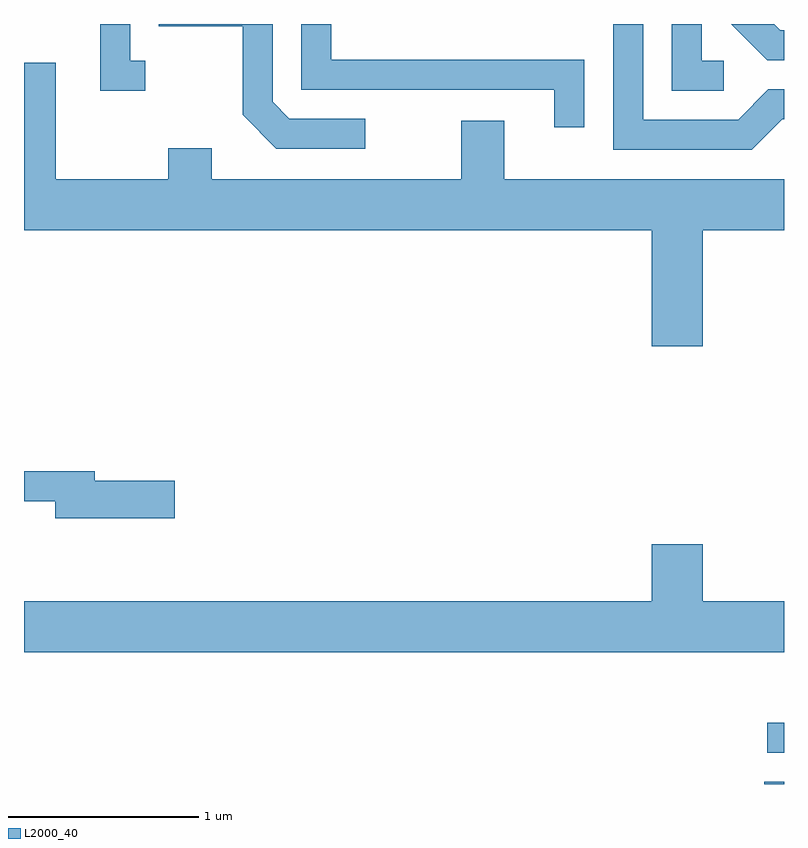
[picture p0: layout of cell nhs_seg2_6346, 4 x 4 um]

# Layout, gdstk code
import gdstk
lib = gdstk.Library(unit=1e-6, precision=1e-09)
def R(c, l, rs):  # rectangles x0, y0, x1, y1
    for r in rs: c.add(gdstk.rectangle(r[:2], r[2:], *l))
def P(c, l, *ps):  # polygons
    for p in ps: c.add(gdstk.Polygon(p, *l))
L2000_40 = (2000, 40)

nhs_seg2_6346 = lib.new_cell('nhs_seg2_6346')
R(nhs_seg2_6346, L2000_40, [(375.506,1089.802,375.611,1089.814), (375.523,1089.966,375.611,1090.124)])
P(nhs_seg2_6346, L2000_40, [(375.602,1093.301),(375.611,1093.301),(375.611,1093.459),(375.529,1093.459),(375.369,1093.299),(374.869,1093.299),(374.869,1093.802),(374.711,1093.802),(374.711,1093.141),(375.442,1093.141)],
  [(375.293,1093.609),(375.179,1093.609),(375.179,1093.802),(375.021,1093.802),(375.021,1093.451),(375.293,1093.451)],
  [(374.559,1093.614),(373.229,1093.614),(373.229,1093.802),(373.071,1093.802),(373.071,1093.456),(374.401,1093.456),(374.401,1093.258),(374.559,1093.258)],
  [(375.611,1093.769),(375.592,1093.769),(375.559,1093.802),(375.333,1093.802),(375.524,1093.611),(375.611,1093.611)],
  [(372.248,1093.609),(372.169,1093.609),(372.169,1093.802),(372.011,1093.802),(372.011,1093.451),(372.248,1093.451)],
  [(373.408,1093.304),(373.007,1093.304),(372.919,1093.392),(372.919,1093.802),(372.321,1093.802),(372.321,1093.791),(372.761,1093.791),(372.761,1093.324),(372.939,1093.146),(373.408,1093.146)],
  [(375.184,1092.716),(375.611,1092.716),(375.611,1092.984),(374.139,1092.984),(374.139,1093.294),(373.911,1093.294),(373.911,1092.984),(372.599,1092.984),(372.599,1093.149),(372.371,1093.149),(372.371,1092.984),(371.779,1092.984),(371.779,1093.599),(371.611,1093.599),(371.611,1092.716),(374.916,1092.716),(374.916,1092.106),(375.184,1092.106)],
  [(372.404,1091.399),(371.984,1091.399),(371.984,1091.449),(371.611,1091.449),(371.611,1091.291),(371.776,1091.291),(371.776,1091.201),(372.404,1091.201)],
  [(375.611,1090.764),(375.184,1090.764),(375.184,1091.064),(374.916,1091.064),(374.916,1090.764),(371.611,1090.764),(371.611,1090.496),(375.611,1090.496)])

lib.write_gds('nhs_seg2_6346.gds')
